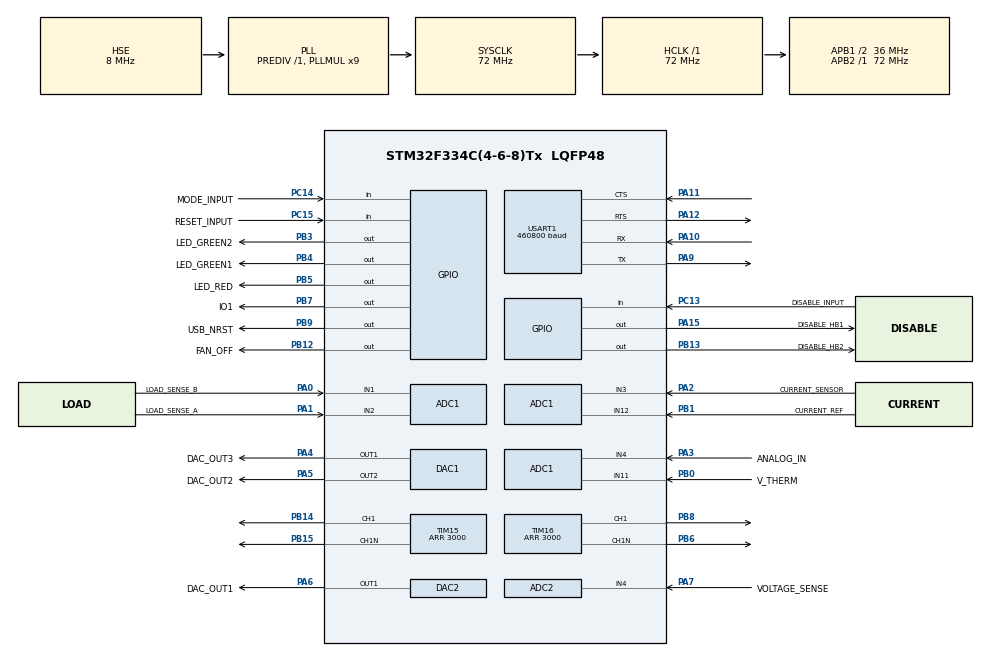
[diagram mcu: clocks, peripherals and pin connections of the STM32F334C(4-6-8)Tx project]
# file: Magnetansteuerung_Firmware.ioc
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ADC1.Channel-2\#ChannelRegularConversion=ADC_CHANNEL_1
ADC1.Channel-4\#ChannelRegularConversion=ADC_CHANNEL_2
ADC1.Channel-5\#ChannelRegularConversion=ADC_CHANNEL_3
ADC1.Channel-6\#ChannelRegularConversion=ADC_CHANNEL_4
ADC1.ClockPrescaler=ADC_CLOCK_SYNC_PCLK_DIV1
ADC1.ContinuousConvMode=DISABLE
ADC1.DMAContinuousRequests=ENABLE
ADC1.EOCSelection=ADC_EOC_SEQ_CONV
ADC1.EnableInjectedConversion=DISABLE
ADC1.ExternalTrigConv=ADC_EXTERNALTRIGCONV_T6_TRGO
ADC1.Mode=ADC_MODE_INDEPENDENT
ADC1.NbrOfConversion=4
ADC1.NbrOfConversionFlag=1
ADC1.Offset-4\#ChannelRegularConversion=0
ADC1.Offset-5\#ChannelRegularConversion=0
ADC1.Offset-6\#ChannelRegularConversion=0
ADC1.OffsetNumber-4\#ChannelRegularConversion=ADC_OFFSET_NONE
ADC1.OffsetNumber-5\#ChannelRegularConversion=ADC_OFFSET_NONE
ADC1.OffsetNumber-6\#ChannelRegularConversion=ADC_OFFSET_NONE
ADC1.Rank-4\#ChannelRegularConversion=2
ADC1.Rank-5\#ChannelRegularConversion=3
ADC1.Rank-6\#ChannelRegularConversion=4
ADC1.SamplingTime-2\#ChannelRegularConversion=ADC_SAMPLETIME_19CYCLES_5
ADC1.SamplingTime-4\#ChannelRegularConversion=ADC_SAMPLETIME_19CYCLES_5
ADC1.SamplingTime-5\#ChannelRegularConversion=ADC_SAMPLETIME_19CYCLES_5
ADC1.SamplingTime-6\#ChannelRegularConversion=ADC_SAMPLETIME_19CYCLES_5
ADC1.SubFamily=STM32F334x8
ADC1.master=1
ADC2.Channel-4\#ChannelRegularConversion=ADC_CHANNEL_4
ADC2.ClockPrescaler=ADC_CLOCK_SYNC_PCLK_DIV1
ADC2.ContinuousConvMode=DISABLE
ADC2.DMAContinuousRequests=ENABLE
ADC2.EOCSelection=ADC_EOC_SEQ_CONV
ADC2.EnableInjectedConversion=DISABLE
ADC2.EnableRegularConversion=ENABLE
ADC2.ExternalTrigConv=ADC_EXTERNALTRIGCONV_T6_TRGO
ADC2.NbrOfConversionFlag=1
ADC2.Offset-4\#ChannelRegularConversion=0
ADC2.OffsetNumber-4\#ChannelRegularConversion=ADC_OFFSET_NONE
ADC2.Rank-4\#ChannelRegularConversion=1
ADC2.SamplingTime-4\#ChannelRegularConversion=ADC_SAMPLETIME_2CYCLES_5
ADC2.SubFamily=STM32F334x8
DAC1.DAC_OutputBuffer=DAC_OUTPUTBUFFER_ENABLE
DAC1.DAC_Trigger=DAC_TRIGGER_T6_TRGO
DAC1.DAC_Trigger2=DAC_TRIGGER_T6_TRGO
DAC2.DAC_Trigger=DAC_TRIGGER_T6_TRGO
Dma.ADC1.0.Direction=DMA_PERIPH_TO_MEMORY
Dma.ADC1.0.Instance=DMA1_Channel1
Dma.ADC1.0.MemDataAlignment=DMA_MDATAALIGN_WORD
Dma.ADC1.0.MemInc=DMA_MINC_ENABLE
Dma.ADC1.0.Mode=DMA_CIRCULAR
Dma.ADC1.0.PeriphDataAlignment=DMA_PDATAALIGN_WORD
Dma.ADC1.0.PeriphInc=DMA_PINC_DISABLE
Dma.ADC1.0.Priority=DMA_PRIORITY_MEDIUM
Dma.ADC2.3.Direction=DMA_PERIPH_TO_MEMORY
Dma.ADC2.3.Instance=DMA1_Channel2
Dma.ADC2.3.MemDataAlignment=DMA_MDATAALIGN_WORD
Dma.ADC2.3.MemInc=DMA_MINC_ENABLE
Dma.ADC2.3.Mode=DMA_CIRCULAR
Dma.ADC2.3.PeriphDataAlignment=DMA_PDATAALIGN_WORD
Dma.ADC2.3.PeriphInc=DMA_PINC_DISABLE
Dma.ADC2.3.Priority=DMA_PRIORITY_MEDIUM
Dma.DAC1_CH1.4.Direction=DMA_MEMORY_TO_PERIPH
Dma.DAC1_CH1.4.Instance=DMA1_Channel3
Dma.DAC1_CH1.4.MemDataAlignment=DMA_MDATAALIGN_WORD
Dma.DAC1_CH1.4.MemInc=DMA_MINC_ENABLE
Dma.DAC1_CH1.4.Mode=DMA_CIRCULAR
Dma.DAC1_CH1.4.PeriphDataAlignment=DMA_PDATAALIGN_WORD
Dma.DAC1_CH1.4.PeriphInc=DMA_PINC_DISABLE
Dma.DAC1_CH1.4.Priority=DMA_PRIORITY_LOW
Dma.DAC1_CH2.1.Direction=DMA_MEMORY_TO_PERIPH
Dma.DAC1_CH2.1.Instance=DMA1_Channel4
Dma.DAC1_CH2.1.MemDataAlignment=DMA_MDATAALIGN_WORD
Dma.DAC1_CH2.1.MemInc=DMA_MINC_ENABLE
Dma.DAC1_CH2.1.Mode=DMA_CIRCULAR
Dma.DAC1_CH2.1.PeriphDataAlignment=DMA_PDATAALIGN_WORD
Dma.DAC1_CH2.1.PeriphInc=DMA_PINC_DISABLE
Dma.DAC1_CH2.1.Priority=DMA_PRIORITY_LOW
Dma.DAC2_CH1.2.Direction=DMA_MEMORY_TO_PERIPH
Dma.DAC2_CH1.2.Instance=DMA1_Channel5
Dma.DAC2_CH1.2.MemDataAlignment=DMA_MDATAALIGN_WORD
Dma.DAC2_CH1.2.MemInc=DMA_MINC_ENABLE
Dma.DAC2_CH1.2.Mode=DMA_CIRCULAR
Dma.DAC2_CH1.2.PeriphDataAlignment=DMA_PDATAALIGN_WORD
Dma.DAC2_CH1.2.PeriphInc=DMA_PINC_DISABLE
Dma.DAC2_CH1.2.Priority=DMA_PRIORITY_LOW
Dma.Request0=ADC1
Dma.Request1=DAC1_CH2
Dma.Request2=DAC2_CH1
Dma.Request3=ADC2
Dma.Request4=DAC1_CH1
Mcu.Family=STM32F3
Mcu.Name=STM32F334C(4-6-8)Tx
Mcu.Package=LQFP48
NVIC.DMA1_Channel1_IRQn=true\:0\:0\:false\:false\:true\:false\:true
NVIC.DMA1_Channel2_IRQn=true\:0\:0\:false\:false\:true\:false\:true
NVIC.DMA1_Channel3_IRQn=true\:0\:0\:false\:false\:true\:false\:true
NVIC.DMA1_Channel4_IRQn=true\:0\:0\:false\:false\:true\:false\:true
NVIC.DMA1_Channel5_IRQn=true\:0\:0\:false\:false\:true\:false\:true
NVIC.PriorityGroup=NVIC_PRIORITYGROUP_4
NVIC.TIM1_UP_TIM16_IRQn=true\:0\:0\:false\:false\:true\:true\:true
NVIC.USART1_IRQn=true\:0\:0\:false\:false\:true\:true\:true
PA0.GPIO_Label=LOAD_SENSE_B
PA0.GPIO_Mode=GPIO_MODE_ANALOG
PA0.GPIO_PuPd=GPIO_NOPULL
PA0.Mode=IN1-Single-Ended
PA0.Signal=ADC1_IN1
PA1.GPIO_Label=LOAD_SENSE_A
PA1.GPIO_Mode=GPIO_MODE_ANALOG
PA1.GPIO_PuPd=GPIO_NOPULL
PA1.Mode=IN2-Single-Ended
PA1.Signal=ADC1_IN2
PA10.Mode=Asynchronous
PA10.Signal=USART1_RX
PA11.Mode=CTS_RTS
PA11.Signal=USART1_CTS
PA12.Mode=CTS_RTS
PA12.Signal=USART1_RTS
PA13.Mode=Serial_Wire
PA13.Signal=SYS_JTMS-SWDIO
PA14.Mode=Serial_Wire
PA14.Signal=SYS_JTCK-SWCLK
PA15.GPIO_Label=DISABLE_HB1
PA15.GPIO_ModeDefaultOutputPP=GPIO_MODE_OUTPUT_PP
PA15.GPIO_PuPd=GPIO_NOPULL
PA15.GPIO_Speed=GPIO_SPEED_FREQ_LOW
PA15.PinState=GPIO_PIN_RESET
PA15.Signal=GPIO_Output
PA2.GPIO_Label=CURRENT_SENSOR
PA2.GPIO_Mode=GPIO_MODE_ANALOG
PA2.GPIO_PuPd=GPIO_NOPULL
PA2.Mode=IN3-Single-Ended
PA2.Signal=ADC1_IN3
PA3.GPIO_Label=ANALOG_IN
PA3.GPIO_Mode=GPIO_MODE_ANALOG
PA3.GPIO_PuPd=GPIO_NOPULL
PA3.Mode=IN4-Single-Ended
PA3.Signal=ADC1_IN4
PA4.GPIO_Label=DAC_OUT3
PA4.Signal=COMP_DAC11_group
PA5.GPIO_Label=DAC_OUT2
PA5.Signal=COMP_DAC12_group
PA6.GPIO_Label=DAC_OUT1
PA6.Signal=COMP_DAC21_group
PA7.GPIO_Label=VOLTAGE_SENSE
PA7.Mode=IN4-Single-Ended
PA7.Signal=ADC2_IN4
PA9.Mode=Asynchronous
PA9.Signal=USART1_TX
PB0.GPIO_Label=V_THERM
PB0.GPIO_Mode=GPIO_MODE_ANALOG
PB0.GPIO_PuPd=GPIO_NOPULL
PB0.Mode=IN11-Single-Ended
PB0.Signal=ADC1_IN11
PB1.GPIO_Label=CURRENT_REF
PB1.GPIO_Mode=GPIO_MODE_ANALOG
PB1.GPIO_PuPd=GPIO_NOPULL
PB1.Mode=IN12-Single-Ended
PB1.Signal=ADC1_IN12
PB12.GPIO_Label=FAN_OFF
PB12.GPIO_ModeDefaultOutputPP=GPIO_MODE_OUTPUT_PP
PB12.GPIO_PuPd=GPIO_NOPULL
PB12.GPIO_Speed=GPIO_SPEED_FREQ_LOW
PB12.PinState=GPIO_PIN_RESET
PB12.Signal=GPIO_Output
PB13.GPIO_Label=DISABLE_HB2
PB13.GPIO_ModeDefaultOutputPP=GPIO_MODE_OUTPUT_PP
PB13.GPIO_PuPd=GPIO_NOPULL
PB13.GPIO_Speed=GPIO_SPEED_FREQ_LOW
PB13.PinState=GPIO_PIN_RESET
PB13.Signal=GPIO_Output
PB14.Signal=S_TIM15_CH1
PB15.Mode=PWM Generation1 CH1 CH1N
PB15.Signal=TIM15_CH1N
PB3.GPIO_Label=LED_GREEN2
PB3.GPIO_ModeDefaultOutputPP=GPIO_MODE_OUTPUT_PP
PB3.GPIO_PuPd=GPIO_NOPULL
PB3.GPIO_Speed=GPIO_SPEED_FREQ_LOW
PB3.PinState=GPIO_PIN_RESET
PB3.Signal=GPIO_Output
PB4.GPIO_Label=LED_GREEN1
PB4.GPIO_ModeDefaultOutputPP=GPIO_MODE_OUTPUT_PP
PB4.GPIO_PuPd=GPIO_NOPULL
PB4.GPIO_Speed=GPIO_SPEED_FREQ_LOW
PB4.PinState=GPIO_PIN_RESET
PB4.Signal=GPIO_Output
PB5.GPIO_Label=LED_RED
PB5.GPIO_ModeDefaultOutputPP=GPIO_MODE_OUTPUT_PP
PB5.GPIO_PuPd=GPIO_NOPULL
PB5.GPIO_Speed=GPIO_SPEED_FREQ_LOW
PB5.PinState=GPIO_PIN_RESET
PB5.Signal=GPIO_Output
PB6.Mode=PWM Generation1 CH1 CH1N
PB6.Signal=TIM16_CH1N
PB7.GPIO_FM7=__NULL
PB7.GPIO_Label=IO1
PB7.GPIO_ModeDefaultOutputPP=GPIO_MODE_OUTPUT_PP
PB7.GPIO_PuPd=GPIO_NOPULL
PB7.GPIO_Speed=GPIO_SPEED_FREQ_LOW
PB7.PinState=GPIO_PIN_RESET
PB7.Signal=GPIO_Output
PB8.Signal=S_TIM16_CH1
PB9.GPIO_FM9=__NULL
PB9.GPIO_Label=USB_NRST
PB9.GPIO_ModeDefaultOutputPP=GPIO_MODE_OUTPUT_PP
PB9.GPIO_PuPd=GPIO_NOPULL
PB9.GPIO_Speed=GPIO_SPEED_FREQ_LOW
PB9.PinState=GPIO_PIN_RESET
PB9.Signal=GPIO_Output
PC13.GPIO_Label=DISABLE_INPUT
PC13.Signal=GPIO_Input
PC14\ /\ OSC32_IN.GPIO_Label=MODE_INPUT
PC14\ /\ OSC32_IN.Signal=GPIO_Input
PC15\ /\ OSC32_OUT.GPIO_Label=RESET_INPUT
PC15\ /\ OSC32_OUT.Signal=GPIO_Input
PF0\ /\ OSC_IN.Mode=HSE-External-Oscillator
PF0\ /\ OSC_IN.Signal=RCC_OSC_IN
PF1\ /\ OSC_OUT.Mode=HSE-External-Oscillator
PF1\ /\ OSC_OUT.Signal=RCC_OSC_OUT
ProjectManager.HeapSize=0x200
ProjectManager.StackSize=0x400
ProjectManager.TargetToolchain=STM32CubeIDE
RCC.AHBFreq_Value=72000000
RCC.APB1CLKDivider=RCC_HCLK_DIV2
RCC.APB1Freq_Value=36000000
RCC.APB1TimFreq_Value=72000000
RCC.APB2Freq_Value=72000000
RCC.APB2TimFreq_Value=72000000
RCC.CortexFreq_Value=72000000
RCC.HCLKFreq_Value=72000000
RCC.HSE_VALUE=8000000
RCC.HSI_VALUE=8000000
RCC.LSE_VALUE=32768
RCC.PLLMUL=RCC_PLL_MUL9
RCC.PLLSourceVirtual=RCC_PLLSOURCE_HSE
RCC.SYSCLKFreq_VALUE=72000000
RCC.SYSCLKSourceVirtual=RCC_SYSCLKSOURCE_PLLCLK
SH.COMP_DAC11_group.0=DAC1_OUT1,DAC_OUT1
SH.COMP_DAC12_group.0=DAC1_OUT2,DAC_OUT2
SH.COMP_DAC21_group.0=DAC2_OUT1,Switch_Enable_OUT1
SH.S_TIM15_CH1.0=TIM15_CH1,PWM Generation1 CH1 CH1N
SH.S_TIM16_CH1.0=TIM16_CH1,PWM Generation1 CH1 CH1N
TIM15.Channel-PWM\ Generation1\ CH1\ CH1N=TIM_CHANNEL_1
TIM15.OCNPolarity_1=TIM_OCNPOLARITY_HIGH
TIM15.OCPolarity_1=TIM_OCPOLARITY_HIGH
TIM15.Period=3000
TIM16.Channel=TIM_CHANNEL_1
TIM16.OCNPolarity_1=TIM_OCNPOLARITY_HIGH
TIM16.Period=3000
TIM6.Period=719
TIM6.Prescaler=0
TIM6.TIM_MasterOutputTrigger=TIM_TRGO_UPDATE
USART1.AutoBaudRateEnableParam=UART_ADVFEATURE_AUTOBAUDRATE_DISABLE
USART1.BaudRate=460800
USART1.VirtualMode-Asynchronous=VM_ASYNC
VP_TIM15_VS_ClockSourceITR.Mode=TriggerSource_ITR2
VP_TIM15_VS_ControllerModeReset.Mode=Reset Mode
VP_TIM16_VS_ClockSourceINT.Mode=Enable_Timer
VP_TIM6_VS_ClockSourceINT.Mode=Enable_Timer
board=custom

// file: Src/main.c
/* USER CODE BEGIN Header */
/**
  ******************************************************************************
  * @file           : main.c
  * @brief          : Main program body
  ******************************************************************************
  * @attention
  *
  * This code was written during a bachelor thesis project and should be
  * considered a prototype only. The aim of the firmware was to test and debug
  * the developed hardware and some changes are recommended in order to obtain
  * a usable product.
  *
  * If you read this then you are committed to improving and actually using the
  * developed hardware. I am honored but at the same time sorry for the state
  * that you find this code in. Due to the page limit and time constraints of
  * my bachelor thesis, the documentation provided in the attached thesis
  * document is very basic and not all the possible and planned features are
  * implemented.
  *
  * If you need any background information which is not contained in the
  * comments of the code or not self explanatory enough - feel free to contact
  * me via georg.feiler@hotmail.com which will be operational for many years to
  * come. Keep in mind that both the hardware and test-firmware offer a lot of
  * room for improvement since they are only prototypes.
  *
  * Thanks for your consideration and good luck!
  * Georg Feiler
  *
  * Apr-11-2020
  *
  ******************************************************************************
  */
/* USER CODE END Header */

#include "main.h"

/* USER CODE BEGIN Includes */
#include "power_control.h"
#include "io_interface.h"
/* USER CODE END Includes */

ADC_HandleTypeDef hadc1;
ADC_HandleTypeDef hadc2;
DMA_HandleTypeDef hdma_adc1;
DMA_HandleTypeDef hdma_adc2;

DAC_HandleTypeDef hdac1;
DAC_HandleTypeDef hdac2;
DMA_HandleTypeDef hdma_dac1_ch2;
DMA_HandleTypeDef hdma_dac1_ch1;
DMA_HandleTypeDef hdma_dac2_ch1;

TIM_HandleTypeDef htim6;
TIM_HandleTypeDef htim15;
TIM_HandleTypeDef htim16;

UART_HandleTypeDef huart1;

/* USER CODE BEGIN PV */

//// Buffers for the ADC and DAC streams
uint32_t ADC1_buffer[ADC1_BUFFER_LEN];
uint32_t ADC2_buffer[ADC2_BUFFER_LEN];
uint32_t DAC1_ch1_buffer[DAC1_CH1_BUFFER_LEN];
uint32_t DAC1_ch2_buffer[DAC1_CH2_BUFFER_LEN];
uint32_t DAC2_buffer[DAC2_BUFFER_LEN];

//// Buffers for UART data
uint8_t UART_buffer[UART_BUFFER_LEN];
uint8_t UART_command;

//// Other control variables
float input_voltage;
float current_sensor;
float A_voltage;
float B_voltage;
/* USER CODE END PV */

void SystemClock_Config(void);
static void MX_GPIO_Init(void);
static void MX_DMA_Init(void);
static void MX_ADC1_Init(void);
static void MX_DAC1_Init(void);
static void MX_DAC2_Init(void);
static void MX_TIM15_Init(void);
static void MX_TIM16_Init(void);
static void MX_ADC2_Init(void);
static void MX_TIM6_Init(void);
static void MX_USART1_UART_Init(void);

/* USER CODE BEGIN 0 */

void HAL_TIM_PWM_PulseFinishedCallback(TIM_HandleTypeDef *htim){
	// Call the control loop after every PWM pulse
	if(htim->Instance == TIM16){
		UpdateControlLoop();
	}
}

void HAL_ADC_ConvHalfCpltCallback(ADC_HandleTypeDef* hadc)
{
	// Check if the ADC is ADC1
	if(hadc->Instance == ADC1){
		// Copy first block of ADC values to DAC
		for(uint32_t k = 0; k < DAC1_CH1_BUFFER_LEN/2; k++){
			DAC1_ch1_buffer[k] = ADC1_buffer[(k<<2)+2]; 		//Second value of 4 scanned ADC values goes to DAC1_ch1
			DAC1_ch2_buffer[k] = ADC1_buffer[(k<<2)+3];			//Third value of 4 scanned ADC values goes to DAC1_ch2
		}
	}
}

void HAL_ADC_ConvCpltCallback(ADC_HandleTypeDef* hadc)
{
	if(hadc->Instance == ADC1){
		// Copy second block of ADC values to DAC
		for(uint32_t k = DAC1_CH1_BUFFER_LEN/2; k < DAC1_CH1_BUFFER_LEN; k++){
			DAC1_ch1_buffer[k] = ADC1_buffer[(k<<2)+2]; 		//Second value of 4 scanned ADC values goes to DAC1_ch1
			DAC1_ch2_buffer[k] = ADC1_buffer[(k<<2)+3];			//Third value of 4 scanned ADC values goes to DAC1_ch2
		}
	}
}

void HAL_UART_RxCpltCallback(UART_HandleTypeDef *huart)
{
	HAL_GPIO_TogglePin(LED_GREEN1_GPIO_Port, LED_GREEN1_Pin);
	if(huart->Instance == USART1){
		//uint8_t command = UART_buffer[0];
		// TODO: Use the received command for something...
	}
}
/* USER CODE END 0 */

int main(void)
{

  /* MCU Configuration--------------------------------------------------------*/

  /* Reset of all peripherals, Initializes the Flash interface and the Systick. */
  HAL_Init();

  /* Configure the system clock */
  SystemClock_Config();

  /* Initialize all configured peripherals */
  MX_GPIO_Init();
  MX_DMA_Init();
  MX_ADC1_Init();
  MX_DAC1_Init();
  MX_DAC2_Init();
  MX_TIM15_Init();
  MX_TIM16_Init();
  MX_ADC2_Init();
  MX_TIM6_Init();
  MX_USART1_UART_Init();
  /* USER CODE BEGIN 2 */

  // Start PWMs in interrupt mode
  HAL_TIM_PWM_Start_IT(&htim15,TIM_CHANNEL_1);
  HAL_TIM_PWM_Start_IT(&htim16,TIM_CHANNEL_1);
  HAL_TIMEx_PWMN_Start_IT(&htim15,TIM_CHANNEL_1);
  HAL_TIMEx_PWMN_Start_IT(&htim16,TIM_CHANNEL_1);

  // Start ADCs in DMA mode
  HAL_ADC_Start_DMA(&hadc1, ADC1_buffer, ADC1_BUFFER_LEN);
  HAL_ADC_Start_DMA(&hadc2, ADC2_buffer, ADC2_BUFFER_LEN);

  // Start DACs in DMA mode - DAC1Ch 1 has the nicest signal...
  HAL_DAC_Start_DMA(&hdac1, DAC_CHANNEL_1, DAC1_ch1_buffer, DAC1_CH1_BUFFER_LEN, DAC_ALIGN_12B_R);
  HAL_DAC_Start_DMA(&hdac1, DAC_CHANNEL_2, ADC2_buffer, ADC2_BUFFER_LEN, DAC_ALIGN_12B_R);
  HAL_DAC_Start(&hdac2, DAC_CHANNEL_1);
  //HAL_DAC_Start_DMA(&hdac2, DAC_CHANNEL_1, DAC1_ch2_buffer, DAC1_CH2_BUFFER_LEN, DAC_ALIGN_12B_R);
  //HAL_DAC_Start_DMA(&hdac2, DAC_CHANNEL_1, &ADC2->DR, 1, DAC_ALIGN_12B_R);

  // Start UART receive mode with interrupt
  HAL_UART_Receive_IT(&huart1, UART_buffer, 5);

  // Start Timer 6 for ADC/DAC conversion events
  HAL_TIM_Base_Start(&htim6);

  // Release FTDI chip from reset
  HAL_GPIO_WritePin(USB_NRST_GPIO_Port, USB_NRST_Pin, 1);

  // Save reference values for zero current and zero input
  HAL_Delay(500);
  zeroCurrent();
  zeroInput();

  /* USER CODE END 2 */

  /* Infinite loop */
  while (1)
  {

    /* USER CODE BEGIN 3 */

	// TODO: Implement state machine or higher order control logic here...
	// TODO: Implement temperature readout and overtemperature protection logic

	  HAL_GPIO_TogglePin(LED_GREEN2_GPIO_Port, LED_GREEN2_Pin);
	  HAL_Delay(500);

  }
  /* USER CODE END 3 */
}

void SystemClock_Config(void)
{
  RCC_OscInitTypeDef RCC_OscInitStruct = {0};
  RCC_ClkInitTypeDef RCC_ClkInitStruct = {0};
  RCC_PeriphCLKInitTypeDef PeriphClkInit = {0};

  /** Initializes the CPU, AHB and APB busses clocks
  */
  RCC_OscInitStruct.OscillatorType = RCC_OSCILLATORTYPE_HSE;
  RCC_OscInitStruct.HSEState = RCC_HSE_ON;
  RCC_OscInitStruct.HSEPredivValue = RCC_HSE_PREDIV_DIV1;
  RCC_OscInitStruct.HSIState = RCC_HSI_ON;
  RCC_OscInitStruct.PLL.PLLState = RCC_PLL_ON;
  RCC_OscInitStruct.PLL.PLLSource = RCC_PLLSOURCE_HSE;
  RCC_OscInitStruct.PLL.PLLMUL = RCC_PLL_MUL9;
  if (HAL_RCC_OscConfig(&RCC_OscInitStruct) != HAL_OK)
  {
    Error_Handler();
  }
  /** Initializes the CPU, AHB and APB busses clocks
  */
  RCC_ClkInitStruct.ClockType = RCC_CLOCKTYPE_HCLK|RCC_CLOCKTYPE_SYSCLK
                              |RCC_CLOCKTYPE_PCLK1|RCC_CLOCKTYPE_PCLK2;
  RCC_ClkInitStruct.SYSCLKSource = RCC_SYSCLKSOURCE_PLLCLK;
  RCC_ClkInitStruct.AHBCLKDivider = RCC_SYSCLK_DIV1;
  RCC_ClkInitStruct.APB1CLKDivider = RCC_HCLK_DIV2;
  RCC_ClkInitStruct.APB2CLKDivider = RCC_HCLK_DIV1;

  if (HAL_RCC_ClockConfig(&RCC_ClkInitStruct, FLASH_LATENCY_2) != HAL_OK)
  {
    Error_Handler();
  }
  PeriphClkInit.PeriphClockSelection = RCC_PERIPHCLK_USART1;
  PeriphClkInit.Usart1ClockSelection = RCC_USART1CLKSOURCE_PCLK1;
  if (HAL_RCCEx_PeriphCLKConfig(&PeriphClkInit) != HAL_OK)
  {
    Error_Handler();
  }
}

static void MX_ADC1_Init(void)
{

  ADC_MultiModeTypeDef multimode = {0};
  ADC_ChannelConfTypeDef sConfig = {0};

  /** Common config
  */
  hadc1.Instance = ADC1;
  hadc1.Init.ClockPrescaler = ADC_CLOCK_SYNC_PCLK_DIV1;
  hadc1.Init.Resolution = ADC_RESOLUTION_12B;
  hadc1.Init.ScanConvMode = ADC_SCAN_ENABLE;
  hadc1.Init.ContinuousConvMode = DISABLE;
  hadc1.Init.DiscontinuousConvMode = DISABLE;
  hadc1.Init.ExternalTrigConvEdge = ADC_EXTERNALTRIGCONVEDGE_RISING;
  hadc1.Init.ExternalTrigConv = ADC_EXTERNALTRIGCONV_T6_TRGO;
  hadc1.Init.DataAlign = ADC_DATAALIGN_RIGHT;
  hadc1.Init.NbrOfConversion = 4;
  hadc1.Init.DMAContinuousRequests = ENABLE;
  hadc1.Init.EOCSelection = ADC_EOC_SEQ_CONV;
  hadc1.Init.LowPowerAutoWait = DISABLE;
  hadc1.Init.Overrun = ADC_OVR_DATA_OVERWRITTEN;
  if (HAL_ADC_Init(&hadc1) != HAL_OK)
  {
    Error_Handler();
  }
  /** Configure the ADC multi-mode
  */
  multimode.Mode = ADC_MODE_INDEPENDENT;
  if (HAL_ADCEx_MultiModeConfigChannel(&hadc1, &multimode) != HAL_OK)
  {
    Error_Handler();
  }
  /** Configure Regular Channel
  */
  sConfig.Channel = ADC_CHANNEL_2;
  sConfig.Rank = ADC_REGULAR_RANK_2;
  sConfig.SingleDiff = ADC_SINGLE_ENDED;
  sConfig.SamplingTime = ADC_SAMPLETIME_19CYCLES_5;
  sConfig.OffsetNumber = ADC_OFFSET_NONE;
  sConfig.Offset = 0;
  if (HAL_ADC_ConfigChannel(&hadc1, &sConfig) != HAL_OK)
  {
    Error_Handler();
  }
  /** Configure Regular Channel
  */
  sConfig.Channel = ADC_CHANNEL_1;
  sConfig.Rank = ADC_REGULAR_RANK_1;
  if (HAL_ADC_ConfigChannel(&hadc1, &sConfig) != HAL_OK)
  {
    Error_Handler();
  }
  /** Configure Regular Channel
  */
  sConfig.Channel = ADC_CHANNEL_3;
  sConfig.Rank = ADC_REGULAR_RANK_3;
  if (HAL_ADC_ConfigChannel(&hadc1, &sConfig) != HAL_OK)
  {
    Error_Handler();
  }
  /** Configure Regular Channel
  */
  sConfig.Channel = ADC_CHANNEL_4;
  sConfig.Rank = ADC_REGULAR_RANK_4;
  if (HAL_ADC_ConfigChannel(&hadc1, &sConfig) != HAL_OK)
  {
    Error_Handler();
  }

}

static void MX_ADC2_Init(void)
{

  ADC_ChannelConfTypeDef sConfig = {0};

  /** Common config
  */
  hadc2.Instance = ADC2;
  hadc2.Init.ClockPrescaler = ADC_CLOCK_SYNC_PCLK_DIV1;
  hadc2.Init.Resolution = ADC_RESOLUTION_12B;
  hadc2.Init.ScanConvMode = ADC_SCAN_DISABLE;
  hadc2.Init.ContinuousConvMode = DISABLE;
  hadc2.Init.DiscontinuousConvMode = DISABLE;
  hadc2.Init.ExternalTrigConvEdge = ADC_EXTERNALTRIGCONVEDGE_RISING;
  hadc2.Init.ExternalTrigConv = ADC_EXTERNALTRIGCONV_T6_TRGO;
  hadc2.Init.DataAlign = ADC_DATAALIGN_RIGHT;
  hadc2.Init.NbrOfConversion = 1;
  hadc2.Init.DMAContinuousRequests = ENABLE;
  hadc2.Init.EOCSelection = ADC_EOC_SEQ_CONV;
  hadc2.Init.LowPowerAutoWait = DISABLE;
  hadc2.Init.Overrun = ADC_OVR_DATA_OVERWRITTEN;
  if (HAL_ADC_Init(&hadc2) != HAL_OK)
  {
    Error_Handler();
  }
  /** Configure Regular Channel
  */
  sConfig.Channel = ADC_CHANNEL_4;
  sConfig.Rank = ADC_REGULAR_RANK_1;
  sConfig.SingleDiff = ADC_SINGLE_ENDED;
  sConfig.SamplingTime = ADC_SAMPLETIME_2CYCLES_5;
  sConfig.OffsetNumber = ADC_OFFSET_NONE;
  sConfig.Offset = 0;
  if (HAL_ADC_ConfigChannel(&hadc2, &sConfig) != HAL_OK)
  {
    Error_Handler();
  }

}

static void MX_DAC1_Init(void)
{

  DAC_ChannelConfTypeDef sConfig = {0};

  /** DAC Initialization
  */
  hdac1.Instance = DAC1;
  if (HAL_DAC_Init(&hdac1) != HAL_OK)
  {
    Error_Handler();
  }
  /** DAC channel OUT1 config
  */
  sConfig.DAC_Trigger = DAC_TRIGGER_T6_TRGO;
  sConfig.DAC_OutputBuffer = DAC_OUTPUTBUFFER_ENABLE;
  if (HAL_DAC_ConfigChannel(&hdac1, &sConfig, DAC_CHANNEL_1) != HAL_OK)
  {
    Error_Handler();
  }
  /** DAC channel OUT2 config
  */
  sConfig.DAC_OutputSwitch = DAC_OUTPUTSWITCH_ENABLE;
  if (HAL_DAC_ConfigChannel(&hdac1, &sConfig, DAC_CHANNEL_2) != HAL_OK)
  {
    Error_Handler();
  }

}

static void MX_DAC2_Init(void)
{

  DAC_ChannelConfTypeDef sConfig = {0};

  /** DAC Initialization
  */
  hdac2.Instance = DAC2;
  if (HAL_DAC_Init(&hdac2) != HAL_OK)
  {
    Error_Handler();
  }
  /** DAC channel OUT1 config
  */
  sConfig.DAC_Trigger = DAC_TRIGGER_T6_TRGO;
  sConfig.DAC_OutputSwitch = DAC_OUTPUTSWITCH_ENABLE;
  if (HAL_DAC_ConfigChannel(&hdac2, &sConfig, DAC_CHANNEL_1) != HAL_OK)
  {
    Error_Handler();
  }

}

static void MX_TIM6_Init(void)
{

  TIM_MasterConfigTypeDef sMasterConfig = {0};

  htim6.Instance = TIM6;
  htim6.Init.Prescaler = 0;
  htim6.Init.CounterMode = TIM_COUNTERMODE_UP;
  htim6.Init.Period = 719;
  htim6.Init.AutoReloadPreload = TIM_AUTORELOAD_PRELOAD_DISABLE;
  if (HAL_TIM_Base_Init(&htim6) != HAL_OK)
  {
    Error_Handler();
  }
  sMasterConfig.MasterOutputTrigger = TIM_TRGO_UPDATE;
  sMasterConfig.MasterSlaveMode = TIM_MASTERSLAVEMODE_DISABLE;
  if (HAL_TIMEx_MasterConfigSynchronization(&htim6, &sMasterConfig) != HAL_OK)
  {
    Error_Handler();
  }

}

static void MX_TIM15_Init(void)
{

  TIM_SlaveConfigTypeDef sSlaveConfig = {0};
  TIM_MasterConfigTypeDef sMasterConfig = {0};
  TIM_OC_InitTypeDef sConfigOC = {0};
  TIM_BreakDeadTimeConfigTypeDef sBreakDeadTimeConfig = {0};

  htim15.Instance = TIM15;
  htim15.Init.Prescaler = 0;
  htim15.Init.CounterMode = TIM_COUNTERMODE_UP;
  htim15.Init.Period = 3000;
  htim15.Init.ClockDivision = TIM_CLOCKDIVISION_DIV1;
  htim15.Init.RepetitionCounter = 0;
  htim15.Init.AutoReloadPreload = TIM_AUTORELOAD_PRELOAD_DISABLE;
  if (HAL_TIM_Base_Init(&htim15) != HAL_OK)
  {
    Error_Handler();
  }
  if (HAL_TIM_PWM_Init(&htim15) != HAL_OK)
  {
    Error_Handler();
  }
  sSlaveConfig.SlaveMode = TIM_SLAVEMODE_RESET;
  sSlaveConfig.InputTrigger = TIM_TS_ITR2;
  if (HAL_TIM_SlaveConfigSynchro(&htim15, &sSlaveConfig) != HAL_OK)
  {
    Error_Handler();
  }
  sMasterConfig.MasterOutputTrigger = TIM_TRGO_RESET;
  sMasterConfig.MasterSlaveMode = TIM_MASTERSLAVEMODE_DISABLE;
  if (HAL_TIMEx_MasterConfigSynchronization(&htim15, &sMasterConfig) != HAL_OK)
  {
    Error_Handler();
  }
  sConfigOC.OCMode = TIM_OCMODE_PWM1;
  sConfigOC.Pulse = 0;
  sConfigOC.OCPolarity = TIM_OCPOLARITY_HIGH;
  sConfigOC.OCNPolarity = TIM_OCNPOLARITY_HIGH;
  sConfigOC.OCFastMode = TIM_OCFAST_DISABLE;
  sConfigOC.OCIdleState = TIM_OCIDLESTATE_RESET;
  sConfigOC.OCNIdleState = TIM_OCNIDLESTATE_RESET;
  if (HAL_TIM_PWM_ConfigChannel(&htim15, &sConfigOC, TIM_CHANNEL_1) != HAL_OK)
  {
    Error_Handler();
  }
  sBreakDeadTimeConfig.OffStateRunMode = TIM_OSSR_DISABLE;
  sBreakDeadTimeConfig.OffStateIDLEMode = TIM_OSSI_DISABLE;
  sBreakDeadTimeConfig.LockLevel = TIM_LOCKLEVEL_OFF;
  sBreakDeadTimeConfig.DeadTime = 0;
  sBreakDeadTimeConfig.BreakState = TIM_BREAK_DISABLE;
  sBreakDeadTimeConfig.BreakPolarity = TIM_BREAKPOLARITY_HIGH;
  sBreakDeadTimeConfig.BreakFilter = 0;
  sBreakDeadTimeConfig.AutomaticOutput = TIM_AUTOMATICOUTPUT_DISABLE;
  if (HAL_TIMEx_ConfigBreakDeadTime(&htim15, &sBreakDeadTimeConfig) != HAL_OK)
  {
    Error_Handler();
  }
  HAL_TIM_MspPostInit(&htim15);

}

static void MX_TIM16_Init(void)
{

  TIM_OC_InitTypeDef sConfigOC = {0};
  TIM_BreakDeadTimeConfigTypeDef sBreakDeadTimeConfig = {0};

  htim16.Instance = TIM16;
  htim16.Init.Prescaler = 0;
  htim16.Init.CounterMode = TIM_COUNTERMODE_UP;
  htim16.Init.Period = 3000;
  htim16.Init.ClockDivision = TIM_CLOCKDIVISION_DIV1;
  htim16.Init.RepetitionCounter = 0;
  htim16.Init.AutoReloadPreload = TIM_AUTORELOAD_PRELOAD_DISABLE;
  if (HAL_TIM_Base_Init(&htim16) != HAL_OK)
  {
    Error_Handler();
  }
  if (HAL_TIM_PWM_Init(&htim16) != HAL_OK)
  {
    Error_Handler();
  }
  sConfigOC.OCMode = TIM_OCMODE_PWM1;
  sConfigOC.Pulse = 0;
  sConfigOC.OCPolarity = TIM_OCPOLARITY_HIGH;
  sConfigOC.OCNPolarity = TIM_OCNPOLARITY_HIGH;
  sConfigOC.OCFastMode = TIM_OCFAST_DISABLE;
  sConfigOC.OCIdleState = TIM_OCIDLESTATE_RESET;
  sConfigOC.OCNIdleState = TIM_OCNIDLESTATE_RESET;
  if (HAL_TIM_PWM_ConfigChannel(&htim16, &sConfigOC, TIM_CHANNEL_1) != HAL_OK)
  {
    Error_Handler();
  }
  sBreakDeadTimeConfig.OffStateRunMode = TIM_OSSR_DISABLE;
  sBreakDeadTimeConfig.OffStateIDLEMode = TIM_OSSI_DISABLE;
  sBreakDeadTimeConfig.LockLevel = TIM_LOCKLEVEL_OFF;
  sBreakDeadTimeConfig.DeadTime = 0;
  sBreakDeadTimeConfig.BreakState = TIM_BREAK_DISABLE;
  sBreakDeadTimeConfig.BreakPolarity = TIM_BREAKPOLARITY_HIGH;
  sBreakDeadTimeConfig.BreakFilter = 0;
  sBreakDeadTimeConfig.AutomaticOutput = TIM_AUTOMATICOUTPUT_DISABLE;
  if (HAL_TIMEx_ConfigBreakDeadTime(&htim16, &sBreakDeadTimeConfig) != HAL_OK)
  {
    Error_Handler();
  }
  HAL_TIM_MspPostInit(&htim16);

}

static void MX_USART1_UART_Init(void)
{

  huart1.Instance = USART1;
  huart1.Init.BaudRate = 460800;
  huart1.Init.WordLength = UART_WORDLENGTH_8B;
  huart1.Init.StopBits = UART_STOPBITS_1;
  huart1.Init.Parity = UART_PARITY_NONE;
  huart1.Init.Mode = UART_MODE_TX_RX;
  huart1.Init.HwFlowCtl = UART_HWCONTROL_RTS_CTS;
  huart1.Init.OverSampling = UART_OVERSAMPLING_16;
  huart1.Init.OneBitSampling = UART_ONE_BIT_SAMPLE_DISABLE;
  huart1.AdvancedInit.AdvFeatureInit = UART_ADVFEATURE_NO_INIT;
  if (HAL_UART_Init(&huart1) != HAL_OK)
  {
    Error_Handler();
  }

}

static void MX_DMA_Init(void)
{

  /* DMA controller clock enable */
  __HAL_RCC_DMA1_CLK_ENABLE();

  /* DMA interrupt init */
  /* DMA1_Channel1_IRQn interrupt configuration */
  HAL_NVIC_SetPriority(DMA1_Channel1_IRQn, 0, 0);
  HAL_NVIC_EnableIRQ(DMA1_Channel1_IRQn);
  /* DMA1_Channel2_IRQn interrupt configuration */
  HAL_NVIC_SetPriority(DMA1_Channel2_IRQn, 0, 0);
  HAL_NVIC_EnableIRQ(DMA1_Channel2_IRQn);
  /* DMA1_Channel3_IRQn interrupt configuration */
  HAL_NVIC_SetPriority(DMA1_Channel3_IRQn, 0, 0);
  HAL_NVIC_EnableIRQ(DMA1_Channel3_IRQn);
  /* DMA1_Channel4_IRQn interrupt configuration */
  HAL_NVIC_SetPriority(DMA1_Channel4_IRQn, 0, 0);
  HAL_NVIC_EnableIRQ(DMA1_Channel4_IRQn);
  /* DMA1_Channel5_IRQn interrupt configuration */
  HAL_NVIC_SetPriority(DMA1_Channel5_IRQn, 0, 0);
  HAL_NVIC_EnableIRQ(DMA1_Channel5_IRQn);

}

static void MX_GPIO_Init(void)
{
  GPIO_InitTypeDef GPIO_InitStruct = {0};

  /* GPIO Ports Clock Enable */
  __HAL_RCC_GPIOC_CLK_ENABLE();
  __HAL_RCC_GPIOF_CLK_ENABLE();
  __HAL_RCC_GPIOA_CLK_ENABLE();
  __HAL_RCC_GPIOB_CLK_ENABLE();

  /*Configure GPIO pin Output Level */
  HAL_GPIO_WritePin(GPIOB, FAN_OFF_Pin|DISABLE_HB2_Pin|LED_GREEN2_Pin|LED_GREEN1_Pin
                          |LED_RED_Pin|IO1_Pin|USB_NRST_Pin, GPIO_PIN_RESET);

  /*Configure GPIO pin Output Level */
  HAL_GPIO_WritePin(DISABLE_HB1_GPIO_Port, DISABLE_HB1_Pin, GPIO_PIN_RESET);

  /*Configure GPIO pins : DISABLE_INPUT_Pin MODE_INPUT_Pin RESET_INPUT_Pin */
  GPIO_InitStruct.Pin = DISABLE_INPUT_Pin|MODE_INPUT_Pin|RESET_INPUT_Pin;
  GPIO_InitStruct.Mode = GPIO_MODE_INPUT;
  GPIO_InitStruct.Pull = GPIO_NOPULL;
  HAL_GPIO_Init(GPIOC, &GPIO_InitStruct);

  /*Configure GPIO pins : FAN_OFF_Pin DISABLE_HB2_Pin LED_GREEN2_Pin LED_GREEN1_Pin
                           LED_RED_Pin IO1_Pin USB_NRST_Pin */
  GPIO_InitStruct.Pin = FAN_OFF_Pin|DISABLE_HB2_Pin|LED_GREEN2_Pin|LED_GREEN1_Pin
                          |LED_RED_Pin|IO1_Pin|USB_NRST_Pin;
  GPIO_InitStruct.Mode = GPIO_MODE_OUTPUT_PP;
  GPIO_InitStruct.Pull = GPIO_NOPULL;
  GPIO_InitStruct.Speed = GPIO_SPEED_FREQ_LOW;
  HAL_GPIO_Init(GPIOB, &GPIO_InitStruct);

  /*Configure GPIO pin : DISABLE_HB1_Pin */
  GPIO_InitStruct.Pin = DISABLE_HB1_Pin;
  GPIO_InitStruct.Mode = GPIO_MODE_OUTPUT_PP;
  GPIO_InitStruct.Pull = GPIO_NOPULL;
  GPIO_InitStruct.Speed = GPIO_SPEED_FREQ_LOW;
  HAL_GPIO_Init(DISABLE_HB1_GPIO_Port, &GPIO_InitStruct);

}

void Error_Handler(void)
{
}

/************************ (C) COPYRIGHT STMicroelectronics *****END OF FILE****/
